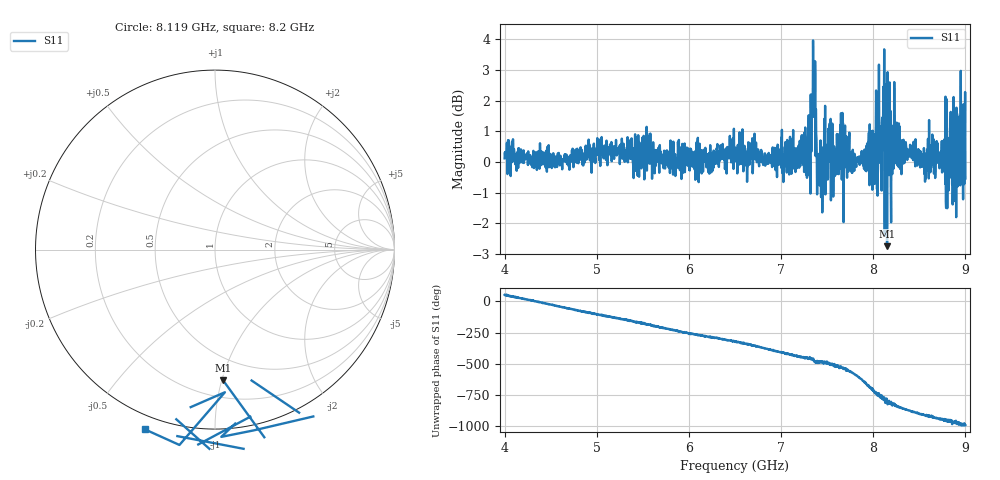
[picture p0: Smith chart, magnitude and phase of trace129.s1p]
! Created with skrf 1.8.0 (http://scikit-rf.org).
# Hz S RI R 50.0
!freq ReS11 ImS11
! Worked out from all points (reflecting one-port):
!   1601 points, 4 GHz to 9 GHz, reference 50 ohm
!   lowest |S11| = -2.8 dB at 8.15 GHz (marker M1), VSWR 6.37, Z = 16.3 - j50.4 ohm
!   phase of S11 starts at 52 deg and turns -1045 deg over the sweep
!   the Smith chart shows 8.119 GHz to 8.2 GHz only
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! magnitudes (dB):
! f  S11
! 4 GHz  0.1
! 4.625 GHz  -0.2
! 5.25 GHz  -0.1
! 5.875 GHz  0.1
! 6.5 GHz  0.2
! 7.125 GHz  0.3
! 7.294 GHz  0.9
! 7.328 GHz  0.3
! 7.347 GHz  4.0
! 7.359 GHz  3.3
! 7.4 GHz  -0.5
! 7.412 GHz  -0.3
! 7.512 GHz  1.1
! 7.566 GHz  -1.1
! 7.647 GHz  0.6
! 7.75 GHz  -0.1
! 7.997 GHz  0.0
! 8.122 GHz  0.2
! 8.15 GHz  -2.8
! 8.153 GHz  0.7
! 8.197 GHz  0.9
! 8.234 GHz  0.0
! 8.375 GHz  0.4
! 8.578 GHz  0.1
! 8.822 GHz  0.4
! 8.875 GHz  0.2
! 8.956 GHz  0.3
! 9 GHz  -0.5
